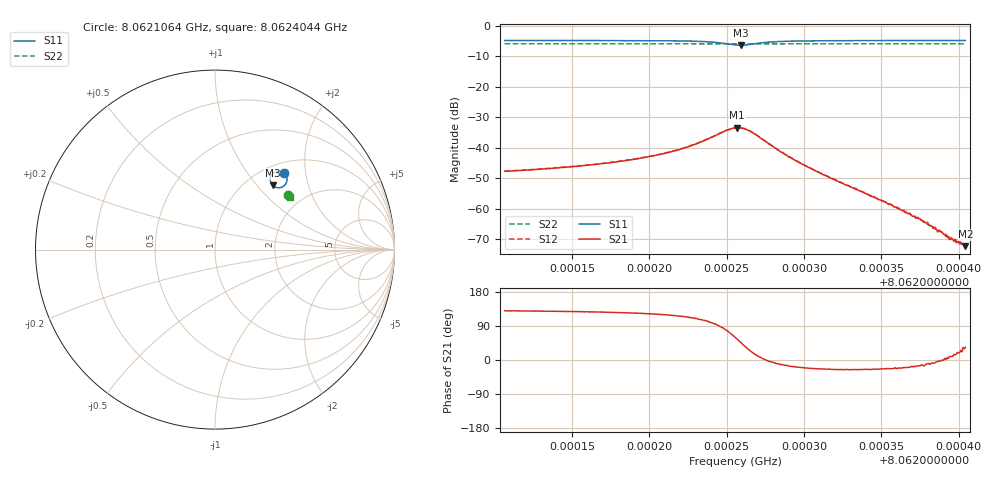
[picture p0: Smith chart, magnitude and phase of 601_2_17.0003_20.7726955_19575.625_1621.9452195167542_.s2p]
#  HZ  S  RI  R  50.00
! Rohde & Schwarz Vector Network Analyzer
! Rohde-Schwarz,ZNB20-2Port,1311601062101988,3.16
! Created: UTC 3/20/2024, 11:19:02 PM
! freq[Hz]  re:S11  im:S11  re:S21  im:S21  re:S12  im:S12  re:S22  im:S22
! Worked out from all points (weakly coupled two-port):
!   401 points, 8.0621064 GHz to 8.0624044 GHz, reference 50 ohm
!   highest |S21| = -33.43 dB at 8.0622569 GHz (marker M1); lowest = -72.3 dB at 8.0624044 GHz (marker M2)
!   lowest |S11| = -6.4 dB at 8.0622591 GHz (marker M3), VSWR 2.85, Z = 65.4 + j60.8 ohm
!   |S11| at or under -10 dB: nowhere
!   |S22| runs from -6.0 to -5.9 dB; largest |S21 - S12| = 0.0013
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8.06210639e9  0.3845 0.4287  -0.00265 0.00313  -0.00246 0.00332  0.4067 0.3054
8.06215631e9  0.39 0.4226  -0.00309 0.00402  -0.00285 0.00424  0.4085 0.3027
8.06218313e9  0.3938 0.4173  -0.00348 0.00499  -0.00319 0.00523  0.4094 0.3013
8.06220623e9  0.3979 0.409  -0.00391 0.00665  -0.00358 0.00694  0.4102 0.2997
8.06222485e9  0.4012 0.3953  -0.00415 0.00942  -0.00343 0.0098  0.4108 0.2983
8.06224348e9  0.3917 0.3626  -0.00088 0.0161  8.13e-05 0.0163  0.4106 0.2961
8.06225093e9  0.367 0.346  0.00497 0.0189  0.00606 0.0189  0.4095 0.2953
8.0622554e9  0.3421 0.3459  0.0105 0.0183  0.0115 0.0179  0.4086 0.2954
8.06225689e9  0.3335 0.3492  0.0123 0.0174  0.0133 0.0168  0.4083 0.2957
8.06225912e9  0.3219 0.3573  0.0146 0.0151  0.0156 0.0146  0.4078 0.2961
8.06226508e9  0.3075 0.3894  0.0172 0.00779  0.0176 0.00694  0.408 0.2973
8.06227551e9  0.3241 0.427  0.0125 -2.27e-05  0.0127 -0.000765  0.4095 0.2982
8.06228892e9  0.3474 0.4377  0.00732 -0.0019  0.00721 -0.00243  0.4112 0.2978
8.06230531e9  0.3624 0.4374  0.0041 -0.00169  0.00404 -0.00196  0.4125 0.2967
8.06235523e9  0.3795 0.4313  0.00108 -0.000455  0.00107 -0.000546  0.4147 0.2937
8.06237833e9  0.3831 0.4291  0.000585 -0.000139  0.000581 -0.000166  0.4155 0.2927
8.06238205e9  0.3837 0.4288  0.000523 -8.48e-05  0.000476 -0.00012  0.4156 0.2924
8.0623895e9  0.3847 0.4279  0.000413 1.09e-06  0.000399 -5.76e-05  0.416 0.292
8.06239397e9  0.3852 0.4277  0.00031 4.53e-05  0.000358 -1.5e-05  0.4162 0.2917
8.06239844e9  0.3858 0.4273  0.000268 7.15e-05  0.000302 6.49e-05  0.4162 0.2917
8.06240217e9  0.3862 0.427  0.000242 9.53e-05  0.000242 0.000116  0.4164 0.2912
8.0624044e9  0.3863 0.4267  0.000203 0.000134  0.000235 8.88e-05  0.4164 0.2911
